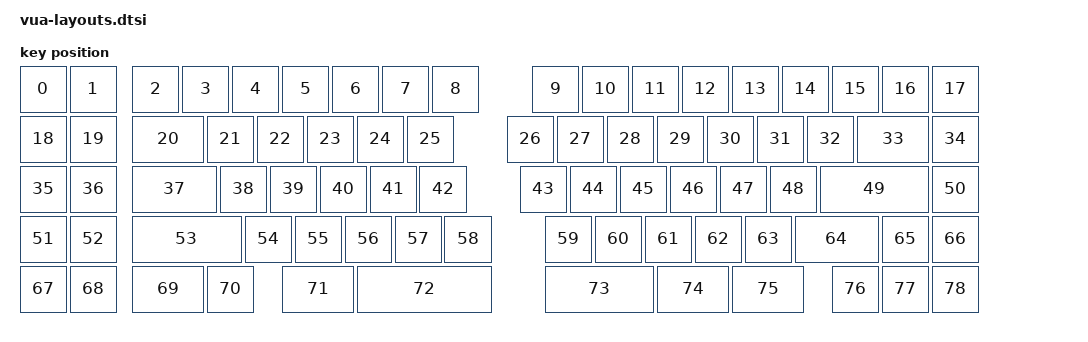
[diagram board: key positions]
#include <physical_layouts.dtsi>

/ {
    physical_layout0: physical_layout0 {
        compatible = "zmk,physical-layout";
        display-name = "Default";

        keys  //                     w   h    x    y     rot    rx    ry
            = <&key_physical_attrs 100 100    0    0       0     0     0>
            , <&key_physical_attrs 100 100  100    0       0     0     0>
            , <&key_physical_attrs 100 100  225    0       0     0     0>
            , <&key_physical_attrs 100 100  325    0       0     0     0>
            , <&key_physical_attrs 100 100  425    0       0     0     0>
            , <&key_physical_attrs 100 100  525    0       0     0     0>
            , <&key_physical_attrs 100 100  625    0       0     0     0>
            , <&key_physical_attrs 100 100  725    0       0     0     0>
            , <&key_physical_attrs 100 100  825    0       0     0     0>
            , <&key_physical_attrs 100 100 1025    0       0     0     0>
            , <&key_physical_attrs 100 100 1125    0       0     0     0>
            , <&key_physical_attrs 100 100 1225    0       0     0     0>
            , <&key_physical_attrs 100 100 1325    0       0     0     0>
            , <&key_physical_attrs 100 100 1425    0       0     0     0>
            , <&key_physical_attrs 100 100 1525    0       0     0     0>
            , <&key_physical_attrs 100 100 1625    0       0     0     0>
            , <&key_physical_attrs 100 100 1725    0       0     0     0>
            , <&key_physical_attrs 100 100 1825    0       0     0     0>
            , <&key_physical_attrs 100 100    0  100       0     0     0>
            , <&key_physical_attrs 100 100  100  100       0     0     0>
            , <&key_physical_attrs 150 100  225  100       0     0     0>
            , <&key_physical_attrs 100 100  375  100       0     0     0>
            , <&key_physical_attrs 100 100  475  100       0     0     0>
            , <&key_physical_attrs 100 100  575  100       0     0     0>
            , <&key_physical_attrs 100 100  675  100       0     0     0>
            , <&key_physical_attrs 100 100  775  100       0     0     0>
            , <&key_physical_attrs 100 100  975  100       0     0     0>
            , <&key_physical_attrs 100 100 1075  100       0     0     0>
            , <&key_physical_attrs 100 100 1175  100       0     0     0>
            , <&key_physical_attrs 100 100 1275  100       0     0     0>
            , <&key_physical_attrs 100 100 1375  100       0     0     0>
            , <&key_physical_attrs 100 100 1475  100       0     0     0>
            , <&key_physical_attrs 100 100 1575  100       0     0     0>
            , <&key_physical_attrs 150 100 1675  100       0     0     0>
            , <&key_physical_attrs 100 100 1825  100       0     0     0>
            , <&key_physical_attrs 100 100    0  200       0     0     0>
            , <&key_physical_attrs 100 100  100  200       0     0     0>
            , <&key_physical_attrs 175 100  225  200       0     0     0>
            , <&key_physical_attrs 100 100  400  200       0     0     0>
            , <&key_physical_attrs 100 100  500  200       0     0     0>
            , <&key_physical_attrs 100 100  600  200       0     0     0>
            , <&key_physical_attrs 100 100  700  200       0     0     0>
            , <&key_physical_attrs 100 100  800  200       0     0     0>
            , <&key_physical_attrs 100 100 1000  200       0     0     0>
            , <&key_physical_attrs 100 100 1100  200       0     0     0>
            , <&key_physical_attrs 100 100 1200  200       0     0     0>
            , <&key_physical_attrs 100 100 1300  200       0     0     0>
            , <&key_physical_attrs 100 100 1400  200       0     0     0>
            , <&key_physical_attrs 100 100 1500  200       0     0     0>
            , <&key_physical_attrs 225 100 1600  200       0     0     0>
            , <&key_physical_attrs 100 100 1825  200       0     0     0>
            , <&key_physical_attrs 100 100    0  300       0     0     0>
            , <&key_physical_attrs 100 100  100  300       0     0     0>
            , <&key_physical_attrs 225 100  225  300       0     0     0>
            , <&key_physical_attrs 100 100  450  300       0     0     0>
            , <&key_physical_attrs 100 100  550  300       0     0     0>
            , <&key_physical_attrs 100 100  650  300       0     0     0>
            , <&key_physical_attrs 100 100  750  300       0     0     0>
            , <&key_physical_attrs 100 100  850  300       0     0     0>
            , <&key_physical_attrs 100 100 1050  300       0     0     0>
            , <&key_physical_attrs 100 100 1150  300       0     0     0>
            , <&key_physical_attrs 100 100 1250  300       0     0     0>
            , <&key_physical_attrs 100 100 1350  300       0     0     0>
            , <&key_physical_attrs 100 100 1450  300       0     0     0>
            , <&key_physical_attrs 175 100 1550  300       0     0     0>
            , <&key_physical_attrs 100 100 1725  300       0     0     0>
            , <&key_physical_attrs 100 100 1825  300       0     0     0>
            , <&key_physical_attrs 100 100    0  400       0     0     0>
            , <&key_physical_attrs 100 100  100  400       0     0     0>
            , <&key_physical_attrs 150 100  225  400       0     0     0>
            , <&key_physical_attrs 100 100  375  400       0     0     0>
            , <&key_physical_attrs 150 100  525  400       0     0     0>
            , <&key_physical_attrs 275 100  675  400       0     0     0>
            , <&key_physical_attrs 225 100 1050  400       0     0     0>
            , <&key_physical_attrs 150 100 1275  400       0     0     0>
            , <&key_physical_attrs 150 100 1425  400       0     0     0>
            , <&key_physical_attrs 100 100 1625  400       0     0     0>
            , <&key_physical_attrs 100 100 1725  400       0     0     0>
            , <&key_physical_attrs 100 100 1825  400       0     0     0>
            ;
    };

    position_map {
        compatible = "zmk,physical-layout-position-map";

        complete;

        
    };
};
